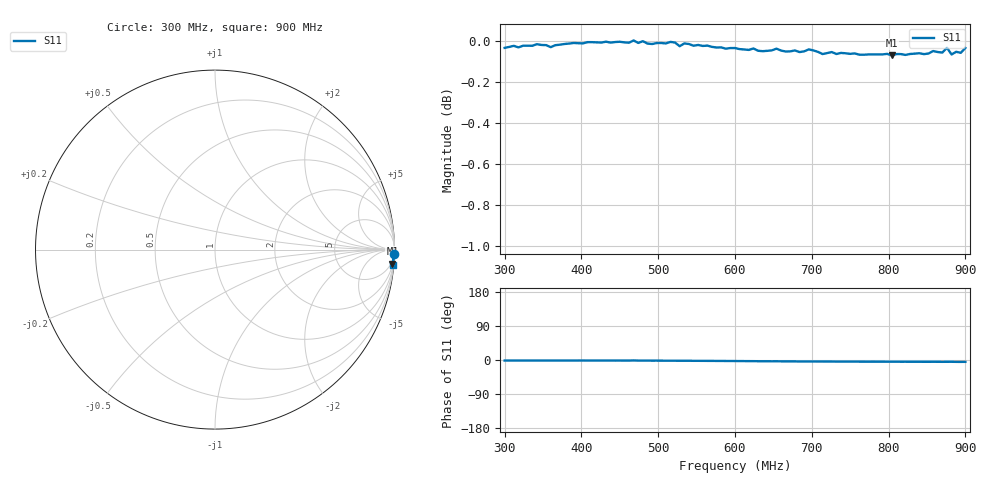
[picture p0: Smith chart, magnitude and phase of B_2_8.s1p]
# HZ S RI R 50
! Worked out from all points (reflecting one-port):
!   101 points, 300 MHz to 900 MHz, reference 50 ohm
!   lowest |S11| = -0.1 dB at 804 MHz (marker M1), VSWR 241.89, Z = 133 - j1.26e+03 ohm
!   phase of S11 starts at -1 deg and turns -3 deg over the sweep
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3e8  0.9956 -0.025
3.42e8  0.9977 -0.0244
3.6e8  0.996 -0.0239
3.78e8  0.9978 -0.0234
4.5e8  0.999 -0.0254
4.62e8  0.9985 -0.0262
4.68e8  0.9999 -0.0198
4.74e8  0.9983 -0.0269
5.16e8  0.9988 -0.0317
5.28e8  0.9962 -0.0345
5.34e8  0.9978 -0.0349
6e8  0.9947 -0.0475
6.42e8  0.9926 -0.0582
6.54e8  0.9938 -0.0584
6.78e8  0.9924 -0.0643
6.84e8  0.9913 -0.0676
6.96e8  0.9928 -0.0665
7.14e8  0.9901 -0.069
7.5e8  0.9898 -0.0745
8.04e8  0.9887 -0.0776
8.28e8  0.9893 -0.0804
8.52e8  0.9893 -0.0828
8.58e8  0.9908 -0.0816
8.7e8  0.9898 -0.084
8.76e8  0.9925 -0.0827
8.82e8  0.9889 -0.0819
8.94e8  0.9894 -0.0867
9e8  0.9923 -0.0848
